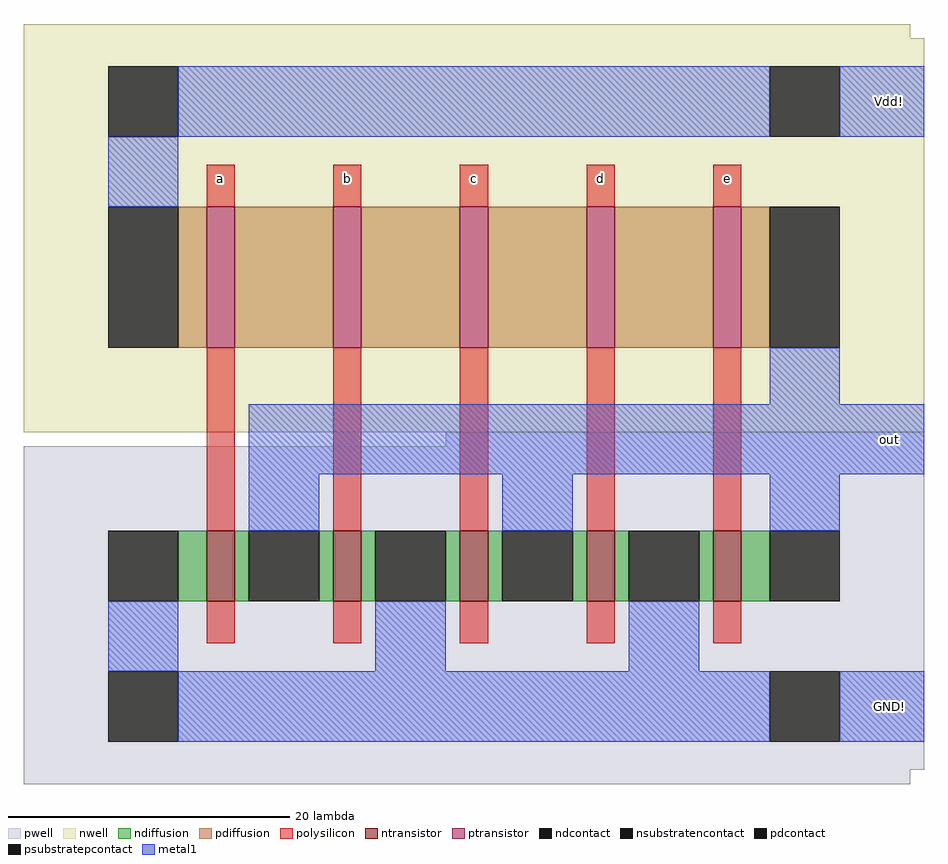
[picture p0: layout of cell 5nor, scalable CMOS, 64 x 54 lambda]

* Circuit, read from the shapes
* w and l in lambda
.subckt 5nor GND! Vdd! a b c d e out
M1 out a GND! GND! nfet w=5 l=2
M2 GND! b out GND! nfet w=5 l=2
M3 out c GND! GND! nfet w=5 l=2
M4 GND! d out GND! nfet w=5 l=2
M5 out e GND! GND! nfet w=5 l=2
M6 n1 a Vdd! Vdd! pfet w=10 l=2
M7 n2 b n1 Vdd! pfet w=10 l=2
M8 n3 c n2 Vdd! pfet w=10 l=2
M9 n4 d n3 Vdd! pfet w=10 l=2
M10 out e n4 Vdd! pfet w=10 l=2
.ends

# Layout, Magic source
magic
tech scmos
<< nwell >>
rect 71 46 134 47
rect 71 18 135 46
<< pwell >>
rect 101 17 135 18
rect 71 -6 135 17
rect 71 -7 134 -6
<< ntransistor >>
rect 84 6 86 11
rect 93 6 95 11
rect 102 6 104 11
rect 111 6 113 11
rect 120 6 122 11
<< ptransistor >>
rect 84 24 86 34
rect 93 24 95 34
rect 102 24 104 34
rect 111 24 113 34
rect 120 24 122 34
<< ndiffusion >>
rect 82 6 84 11
rect 86 6 87 11
rect 92 6 93 11
rect 95 6 96 11
rect 101 6 102 11
rect 104 6 105 11
rect 110 6 111 11
rect 113 6 114 11
rect 119 6 120 11
rect 122 6 124 11
<< pdiffusion >>
rect 82 24 84 34
rect 86 24 93 34
rect 95 24 102 34
rect 104 24 111 34
rect 113 24 120 34
rect 122 24 124 34
<< ndcontact >>
rect 77 6 82 11
rect 87 6 92 11
rect 96 6 101 11
rect 105 6 110 11
rect 114 6 119 11
rect 124 6 129 11
<< pdcontact >>
rect 77 24 82 34
rect 124 24 129 34
<< psubstratepcontact >>
rect 77 -4 82 1
rect 124 -4 129 1
<< nsubstratencontact >>
rect 77 39 82 44
rect 124 39 129 44
<< polysilicon >>
rect 84 34 86 37
rect 93 34 95 37
rect 102 34 104 37
rect 111 34 113 37
rect 120 34 122 37
rect 84 11 86 24
rect 93 11 95 24
rect 102 11 104 24
rect 111 11 113 24
rect 120 11 122 24
rect 84 3 86 6
rect 93 3 95 6
rect 102 3 104 6
rect 111 3 113 6
rect 120 3 122 6
<< metal1 >>
rect 82 39 124 44
rect 129 39 135 44
rect 77 34 82 39
rect 124 20 129 24
rect 87 15 135 20
rect 87 11 92 15
rect 105 11 110 15
rect 124 11 129 15
rect 77 1 82 6
rect 96 1 101 6
rect 114 1 119 6
rect 82 -4 124 1
rect 129 -4 135 1
<< labels >>
rlabel polysilicon 84 35 86 37 1 a
rlabel polysilicon 93 35 95 37 1 b
rlabel polysilicon 102 35 104 37 1 c
rlabel polysilicon 111 35 113 37 1 d
rlabel polysilicon 120 35 122 37 1 e
rlabel metal1 130 -4 135 1 7 GND!
rlabel metal1 130 39 135 44 7 Vdd!
rlabel metal1 130 15 135 20 7 out
<< end >>
